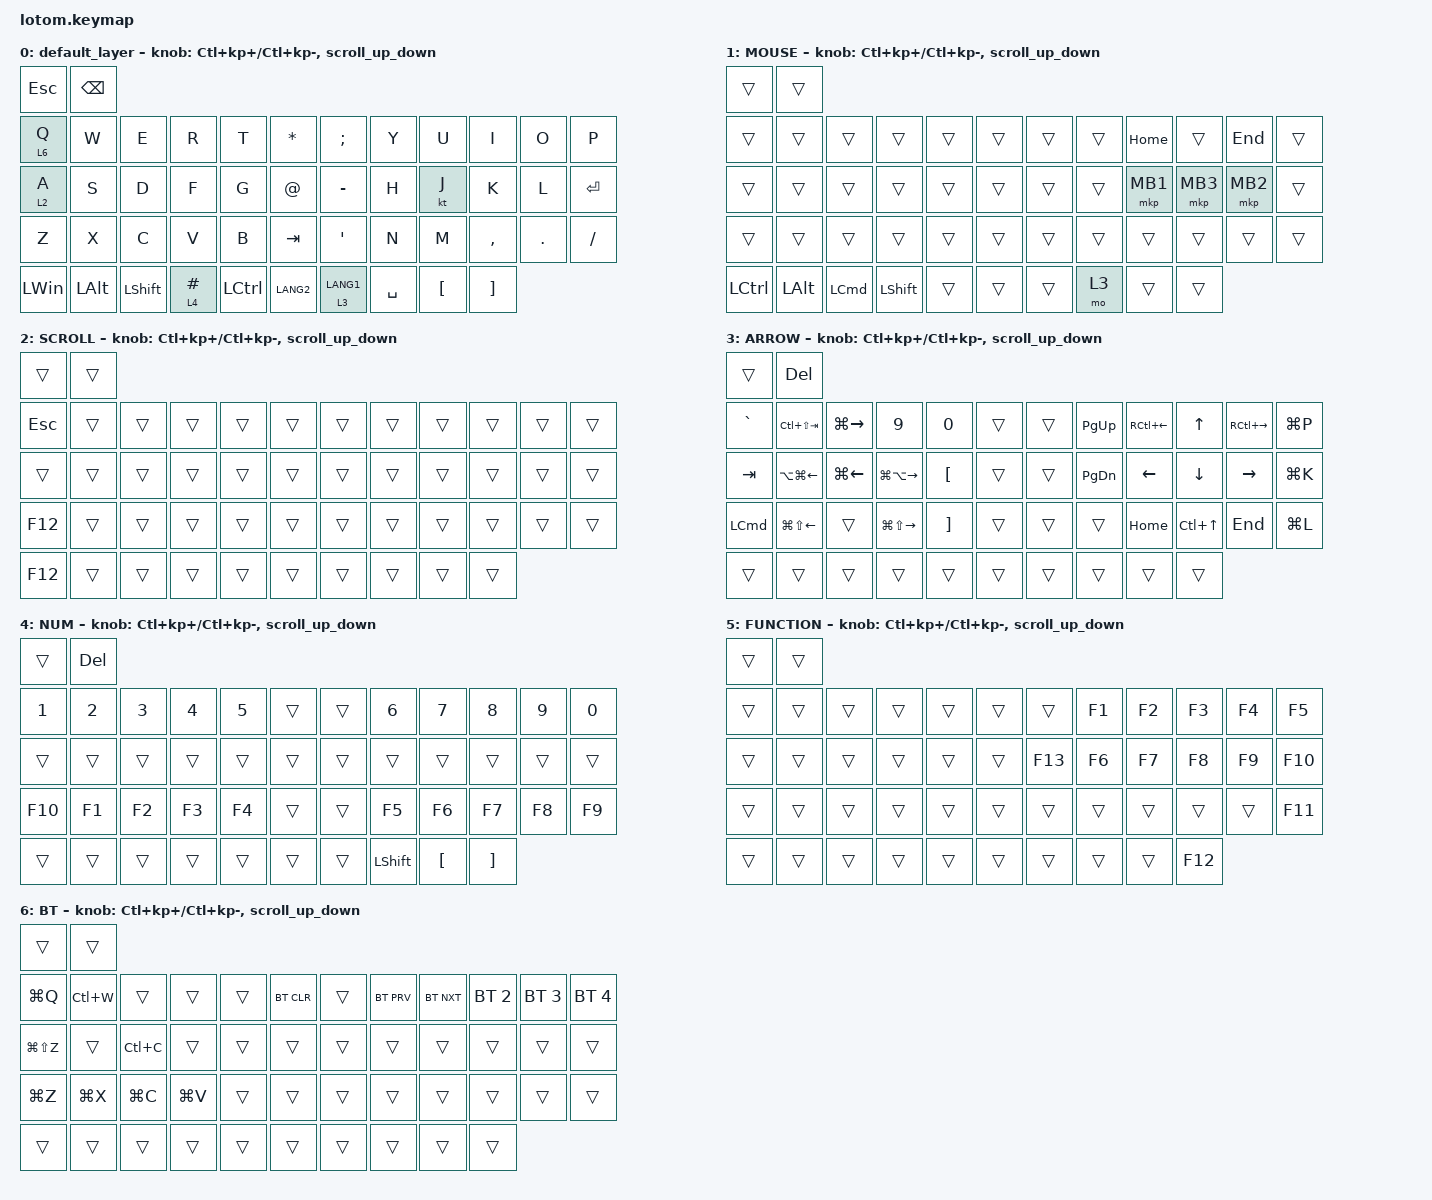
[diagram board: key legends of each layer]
#include <behaviors.dtsi>
#include <dt-bindings/zmk/bt.h>
#include <dt-bindings/zmk/keys.h>
#include <dt-bindings/zmk/pointing.h>

#define ZMK_POINTING_DEFAULT_SCRL_VAL 80

/ {
    behaviors {
        scroll_up_down: behavior_sensor_rotate_mouse_wheel_up_down {
            compatible = "zmk,behavior-sensor-rotate";
            label = "ENCODER_MSC_DOWN_UP";
            #sensor-binding-cells = <0>;
            bindings = <&msc SCRL_DOWN>, <&msc SCRL_UP>;

            tap-ms = <20>;
        };

        tab_slide: behavior_sensor_rotate_tab_slide {
            compatible = "zmk,behavior-sensor-rotate";
            label = "ENCODER_TAB_SLIDE";
            #sensor-binding-cells = <0>;
            bindings = <&kp LA(LG(RIGHT_ARROW))>, <&kp LA(LG(LEFT_ARROW))>;

            tap-ms = <20>;
        };
    };

    keymap {
        compatible = "zmk,keymap";

        default_layer {
            bindings = <
&kp ESCAPE    &kp BACKSPACE
&lt 6 Q       &kp W          &kp E      &kp R       &kp T             &kp ASTRK  &kp SEMI     &kp Y      &kp U             &kp I              &kp O    &kp P
&lt 2 A       &kp S          &kp D      &kp F       &kp G             &kp AT     &kp MINUS    &kp H      &kt J             &kp K              &kp L    &kp RET
&kp Z         &kp X          &kp C      &kp V       &kp B             &kp TAB    &kp APOS     &kp N      &kp M             &kp COMMA          &kp DOT  &kp SLASH
&kp LEFT_WIN  &kp LEFT_ALT   &kp LSHFT  &lt 4 HASH  &kp LEFT_CONTROL  &kp LANG2  &lt 3 LANG1  &kp SPACE  &kp LEFT_BRACKET  &kp RIGHT_BRACKET
            >;

            sensor-bindings =
                <&inc_dec_kp LC(KP_PLUS) LC(KP_MINUS)>,
                <&scroll_up_down>;
        };

        MOUSE {
            bindings = <
&trans     &trans
&trans     &trans        &trans            &trans          &trans  &trans  &trans  &trans  &kp HOME  &trans    &kp END   &trans
&trans     &trans        &trans            &trans          &trans  &trans  &trans  &trans  &mkp MB1  &mkp MB3  &mkp MB2  &trans
&trans     &trans        &trans            &trans          &trans  &trans  &trans  &trans  &trans    &trans    &trans    &trans
&kp LCTRL  &kp LEFT_ALT  &kp LEFT_COMMAND  &kp LEFT_SHIFT  &trans  &trans  &trans  &mo 3   &trans    &trans
            >;

            sensor-bindings =
                <&inc_dec_kp LC(KP_PLUS) LC(KP_MINUS)>,
                <&scroll_up_down>;
        };

        SCROLL {
            bindings = <
&trans      &trans
&kp ESCAPE  &trans  &trans  &trans  &trans  &trans  &trans  &trans  &trans  &trans  &trans  &trans
&trans      &trans  &trans  &trans  &trans  &trans  &trans  &trans  &trans  &trans  &trans  &trans
&kp F12     &trans  &trans  &trans  &trans  &trans  &trans  &trans  &trans  &trans  &trans  &trans
&kp F12     &trans  &trans  &trans  &trans  &trans  &trans  &trans  &trans  &trans
            >;

            sensor-bindings =
                <&inc_dec_kp LC(KP_PLUS) LC(KP_MINUS)>,
                <&scroll_up_down>;
        };

        ARROW {
            bindings = <
&trans     &kp DEL
&kp GRAVE  &kp LC(LS(TAB))         &kp LG(RIGHT)  &kp NUMBER_9             &kp NUMBER_0       &trans  &trans  &kp PAGE_UP    &kp RC(LEFT_ARROW)  &kp UP_ARROW      &kp RC(RIGHT_ARROW)  &kp LG(P)
&kp TAB    &kp LA(LG(LEFT_ARROW))  &kp LG(LEFT)   &kp LG(LA(RIGHT_ARROW))  &kp LEFT_BRACKET   &trans  &trans  &kp PAGE_DOWN  &kp LEFT_ARROW      &kp DOWN_ARROW    &kp RIGHT_ARROW      &kp LG(K)
&kp LCMD   &kp LG(LS(LEFT_ARROW))  &trans         &kp LG(LS(RIGHT_ARROW))  &kp RIGHT_BRACKET  &trans  &trans  &trans         &kp HOME            &kp LC(UP_ARROW)  &kp END              &kp LG(L)
&trans     &trans                  &trans         &trans                   &trans             &trans  &trans  &trans         &trans              &trans
            >;

            sensor-bindings =
                <&inc_dec_kp LC(KP_PLUS) LC(KP_MINUS)>,
                <&scroll_up_down>;
        };

        NUM {
            bindings = <
&trans   &kp DELETE
&kp N1   &kp N2      &kp N3  &kp N4  &kp N5  &trans  &trans  &kp N6          &kp NUMBER_7      &kp NUMBER_8       &kp NUMBER_9  &kp N0
&trans   &trans      &trans  &trans  &trans  &trans  &trans  &trans          &trans            &trans             &trans        &trans
&kp F10  &kp F1      &kp F2  &kp F3  &kp F4  &trans  &trans  &kp F5          &kp F6            &kp F7             &kp F8        &kp F9
&trans   &trans      &trans  &trans  &trans  &trans  &trans  &kp LEFT_SHIFT  &kp LEFT_BRACKET  &kp RIGHT_BRACKET
            >;

            sensor-bindings =
                <&inc_dec_kp LC(KP_PLUS) LC(KP_MINUS)>,
                <&scroll_up_down>;
        };

        FUNCTION {
            bindings = <
&trans  &trans
&trans  &trans  &trans  &trans  &trans  &trans  &trans   &kp F1  &kp F2  &kp F3   &kp F4  &kp F5
&trans  &trans  &trans  &trans  &trans  &trans  &kp F13  &kp F6  &kp F7  &kp F8   &kp F9  &kp F10
&trans  &trans  &trans  &trans  &trans  &trans  &trans   &trans  &trans  &trans   &trans  &kp F11
&trans  &trans  &trans  &trans  &trans  &trans  &trans   &trans  &trans  &kp F12
            >;

            sensor-bindings =
                <&inc_dec_kp LC(KP_PLUS) LC(KP_MINUS)>,
                <&scroll_up_down>;
        };

        BT {
            bindings = <
&trans         &trans
&kp LG(Q)      &kp LC(W)  &trans     &trans     &trans  &bt BT_CLR  &trans  &bt BT_PRV  &bt BT_NXT  &bt BT_SEL 2  &bt BT_SEL 3  &bt BT_SEL 4
&kp LG(LS(Z))  &trans     &kp LC(C)  &trans     &trans  &trans      &trans  &trans      &trans      &trans        &trans        &trans
&kp LG(Z)      &kp LG(X)  &kp LG(C)  &kp LG(V)  &trans  &trans      &trans  &trans      &trans      &trans        &trans        &trans
&trans         &trans     &trans     &trans     &trans  &trans      &trans  &trans      &trans      &trans
            >;

            sensor-bindings =
                <&inc_dec_kp LC(KP_PLUS) LC(KP_MINUS)>,
                <&scroll_up_down>;
        };
    };
};
